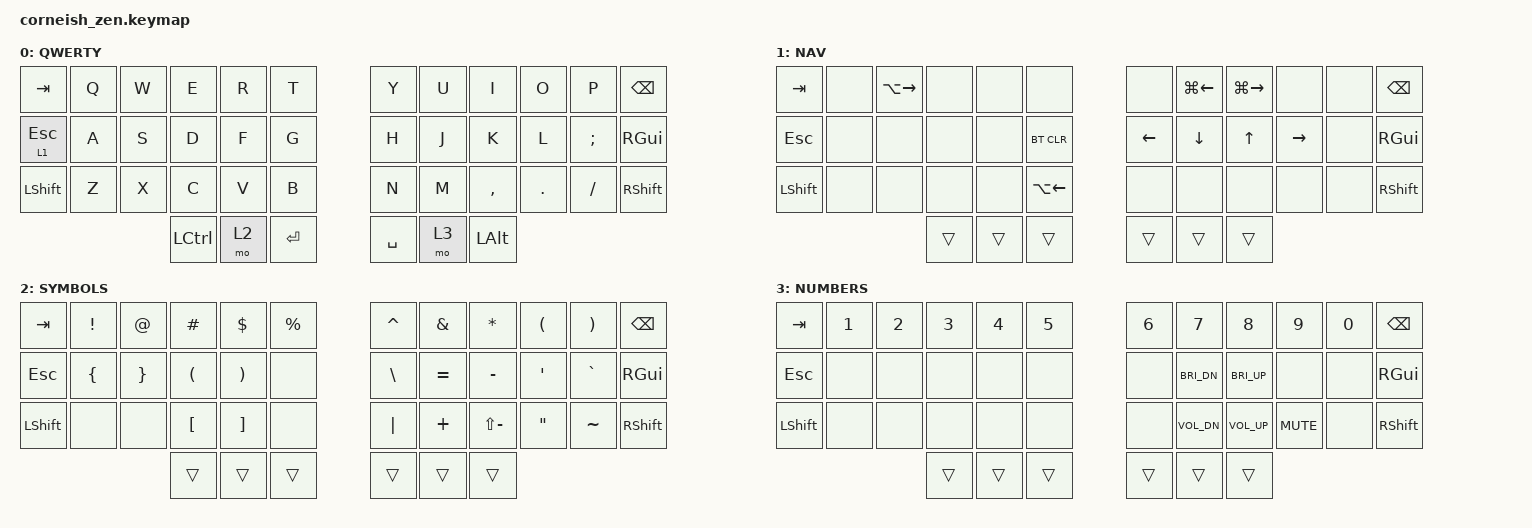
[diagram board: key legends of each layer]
#include <behaviors.dtsi>
#include <dt-bindings/zmk/keys.h>
#include <dt-bindings/zmk/bt.h>

/ {
  chosen {
    zmk,matrix_transform = &default_transform;
  };
};

/ {
  keymap {
    compatible = "zmk,keymap";

    default_layer {
      label = "QWERTY";
      bindings = <
        &kp TAB &kp Q &kp W &kp E &kp R &kp T                                 &kp Y &kp U &kp I &kp O &kp P &kp BACKSPACE
        &lt 1 ESCAPE &kp A &kp S &kp D &kp F                                  &kp G &kp H &kp J &kp K &kp L &kp SEMICOLON &kp RIGHT_GUI
        &kp LEFT_SHIFT &kp Z &kp X &kp C &kp V &kp B                          &kp N &kp M &kp COMMA &kp PERIOD &kp SLASH &kp RIGHT_SHIFT
                                         &kp LCTRL &mo 2 &kp ENTER  &kp SPACE &mo 3 &kp LALT
      >;
    };
    layer1 {
      label = "NAV";
      bindings = <
        &kp TAB &none &kp LA(RIGHT) &none &none &none                         &none &kp LG(LEFT) &kp LG(RIGHT) &none &none &kp BACKSPACE
        &kp ESCAPE &none &none &none &none &bt BT_CLR                         &kp LEFT &kp DOWN &kp UP &kp RIGHT &none &kp RIGHT_GUI
        &kp LEFT_SHIFT &none &none &none &none &kp LA(LEFT)                   &none &none &none &none &none &kp RIGHT_SHIFT
                                         &trans &trans &trans &trans &trans &trans
      >;
    };
    layer2 {
      label = "SYMBOLS";
      bindings = <
        &kp TAB &kp EXCLAMATION &kp AT &kp HASH &kp DOLLAR &kp PERCENT        &kp CARET &kp AMPERSAND &kp ASTERISK &kp LPAR &kp RPAR &kp BACKSPACE
        &kp ESCAPE &kp LBRC  &kp RBRC &kp LPAR &kp RPAR &none                 &kp BSLH &kp EQUAL &kp MINUS &kp SQT &kp GRAVE &kp RIGHT_GUI
        &kp LEFT_SHIFT &none &none &kp LBKT &kp RBKT &none                    &kp PIPE &kp PLUS &kp LS(MINUS) &kp DQT &kp TILDE &kp RIGHT_SHIFT
                                         &trans &trans &trans &trans &trans &trans
      >;
    };
    layer3 {
      label = "NUMBERS";
      bindings = <
        &kp TAB &kp N1 &kp N2 &kp N3 &kp N4 &kp N5                            &kp N6 &kp N7 &kp N8 &kp N9 &kp N0 &kp BACKSPACE
        &kp ESCAPE &none &none &none &none &none                              &none &kp C_BRI_DN &kp C_BRI_UP &none &none &kp RIGHT_GUI
        &kp LEFT_SHIFT &none &none &none &none &none                          &none &kp C_VOL_DN &kp C_VOL_UP &kp C_MUTE &none &kp RIGHT_SHIFT
                                         &trans &trans &trans &trans &trans &trans
      >;
    };
  };
};
